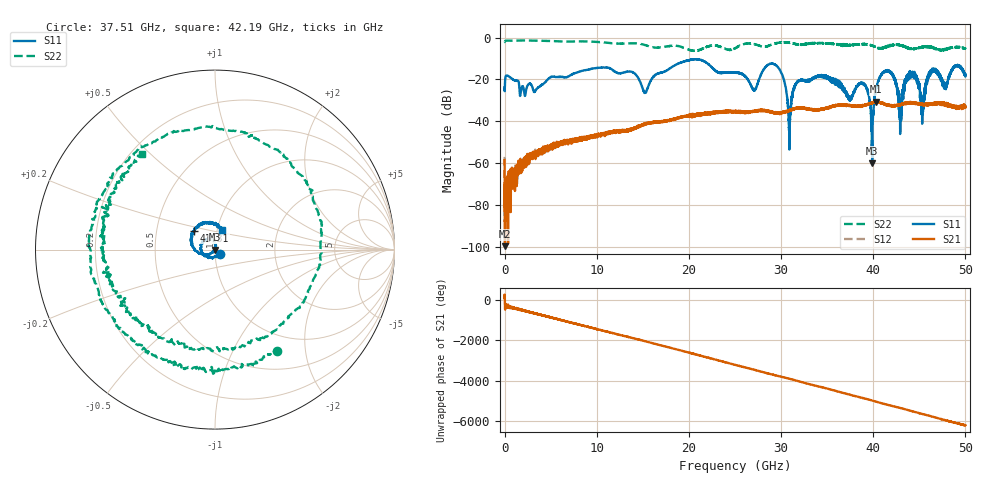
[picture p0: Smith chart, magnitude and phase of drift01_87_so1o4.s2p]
!Created with skrf (http://scikit-rf.org).
# Hz S RI R 50.0
!freq ReS11 ImS11 ReS21 ImS21 ReS12 ImS12 ReS22 ImS22
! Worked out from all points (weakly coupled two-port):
!   10001 points, 300 kHz to 50 GHz, reference 50 ohm
!   highest |S21| = -30.63 dB at 40.26 GHz (marker M1); lowest = -99.7 dB at 35.3 MHz (marker M2)
!   lowest |S11| = -60.1 dB at 39.89 GHz (marker M3), VSWR 1.00, Z = 49.9 + j0.0329 ohm
!   |S11| at or under -10 dB: start of sweep to end of sweep
!   |S22| runs from -6.4 to -1.4 dB; largest |S21 - S12| = 0.0044
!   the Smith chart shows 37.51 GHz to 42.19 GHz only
!   S11 on the Smith chart (normalised r, x): 37.51 GHz: 1.05, -0.05; 41.31 GHz: 0.77, +0.17; 42.19 GHz: 1.05, +0.24
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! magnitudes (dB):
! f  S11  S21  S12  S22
! 300 kHz  -23.8  -58.5  -57.0  -2.1
! 35.3 MHz  -21.9  -99.7  -81.3  -1.7
! 8.335 GHz  -15.9  -48.4  -48.4  -1.8
! 16.67 GHz  -17.1  -40.3  -40.3  -4.8
! 25 GHz  -16.6  -35.2  -35.3  -5.1
! 27.1 GHz  -25.1  -35.1  -35.4  -3.1
! 29.44 GHz  -13.2  -35.9  -35.9  -2.7
! 30.92 GHz  -47.9  -35.1  -34.9  -2.5
! 31.67 GHz  -21.6  -33.6  -33.7  -3.2
! 33.34 GHz  -19.8  -34.2  -34.4  -2.6
! 37.51 GHz  -28.9  -32.4  -32.6  -3.6
! 38.97 GHz  -22.2  -32.2  -32.6  -3.1
! 39.89 GHz  -60.1  -31.1  -31.1  -3.8
! 40.26 GHz  -25.7  -30.6  -30.8  -4.6
! 41.31 GHz  -16.0  -31.9  -31.9  -4.6
! 41.67 GHz  -15.8  -32.3  -32.5  -4.1
! 42.19 GHz  -18.6  -32.6  -32.6  -3.5
! 42.95 GHz  -35.2  -31.9  -32.0  -3.5
! 44.03 GHz  -17.3  -30.9  -30.9  -5.4
! 45.31 GHz  -41.2  -31.6  -32.1  -4.4
! 46.42 GHz  -15.7  -31.4  -31.7  -4.7
! 50 GHz  -17.6  -33.2  -32.8  -5.3
